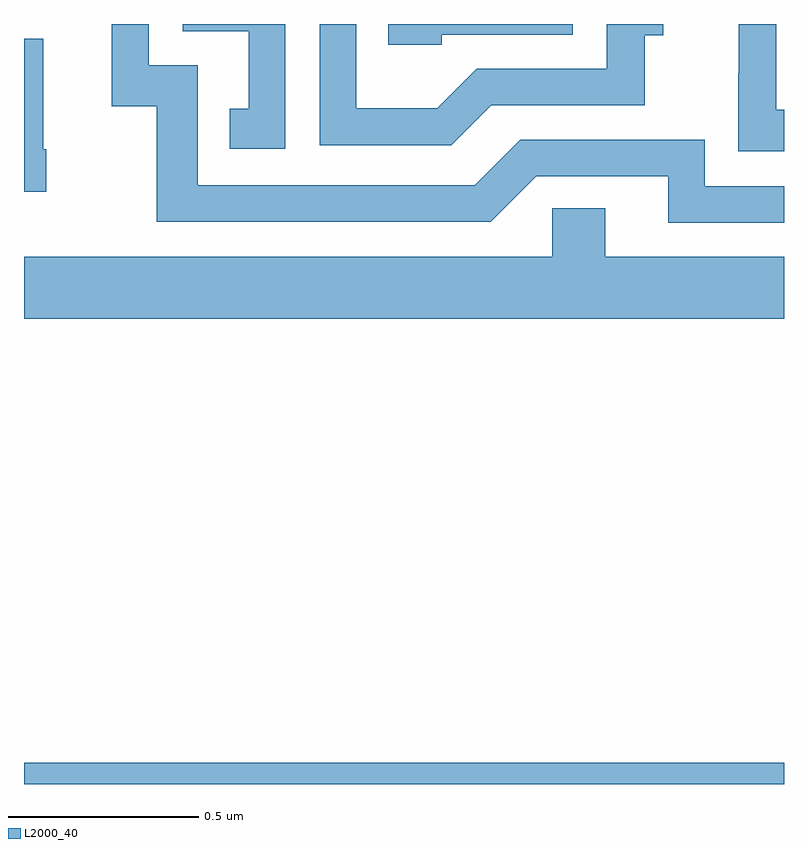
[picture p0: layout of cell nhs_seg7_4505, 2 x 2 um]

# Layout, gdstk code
import gdstk
lib = gdstk.Library(unit=1e-6, precision=1e-09)
def R(c, l, rs):  # rectangles x0, y0, x1, y1
    for r in rs: c.add(gdstk.rectangle(r[:2], r[2:], *l))
def P(c, l, *ps):  # polygons
    for p in ps: c.add(gdstk.Polygon(p, *l))
L2000_40 = (2000, 40)

nhs_seg7_4505 = lib.new_cell('nhs_seg7_4505')
R(nhs_seg7_4505, L2000_40, [(173,1058,175,1058.056)])
P(nhs_seg7_4505, L2000_40, [(175,1059.573),(174.792,1059.573),(174.792,1059.696),(174.306,1059.696),(174.186,1059.576),(173.457,1059.576),(173.457,1059.891),(173.328,1059.891),(173.328,1060),(173.231,1060),(173.231,1059.783),(173.349,1059.783),(173.349,1059.48),(174.228,1059.48),(174.348,1059.6),(174.695,1059.6),(174.695,1059.477),(175,1059.477)],
  [(174.099,1059.972),(174.444,1059.972),(174.444,1060),(173.959,1060),(173.959,1059.945),(174.099,1059.945)],
  [(175,1059.775),(174.98,1059.775),(174.98,1060),(174.881,1060),(174.881,1059.871),(174.88,1059.871),(174.88,1059.665),(175,1059.665)],
  [(174.229,1059.786),(174.633,1059.786),(174.633,1059.971),(174.682,1059.971),(174.682,1060),(174.534,1060),(174.534,1059.882),(174.192,1059.882),(174.088,1059.778),(173.874,1059.778),(173.874,1060),(173.778,1060),(173.778,1059.681),(174.124,1059.681)],
  [(173.688,1060),(173.418,1060),(173.418,1059.981),(173.591,1059.981),(173.591,1059.777),(173.542,1059.777),(173.542,1059.672),(173.688,1059.672)],
  [(173.058,1059.67),(173.05,1059.67),(173.05,1059.961),(173,1059.961),(173,1059.558),(173.058,1059.558)],
  [(175,1059.388),(174.529,1059.388),(174.529,1059.515),(174.39,1059.515),(174.39,1059.388),(173,1059.388),(173,1059.224),(175,1059.224)])

lib.write_gds('nhs_seg7_4505.gds')
